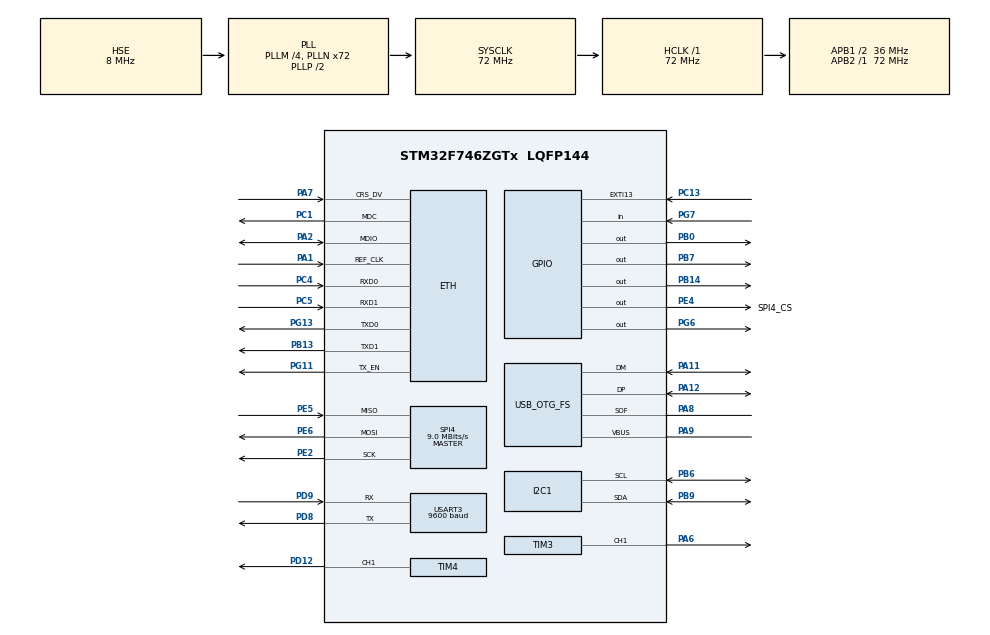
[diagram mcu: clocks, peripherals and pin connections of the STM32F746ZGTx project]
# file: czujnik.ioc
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ETH.MediaInterface=ETH_MEDIA_INTERFACE_RMII
ETH.PHY_Name=LAN8742A_PHY_ADDRESS
ETH.PHY_Value=0
ETH.PhyAddress=0
I2C1.Timing=0x00808CD2
Mcu.Family=STM32F7
Mcu.Name=STM32F746ZGTx
Mcu.Package=LQFP144
NVIC.I2C1_ER_IRQn=true\:0\:0\:false\:false\:true\:true\:true
NVIC.I2C1_EV_IRQn=true\:0\:0\:false\:false\:true\:true\:true
NVIC.PriorityGroup=NVIC_PRIORITYGROUP_4
NVIC.SPI4_IRQn=true\:0\:0\:false\:false\:true\:true\:true
NVIC.TIM2_IRQn=true\:0\:0\:false\:false\:true\:true\:true
NVIC.TIM4_IRQn=true\:0\:0\:false\:false\:true\:true\:true
NVIC.USART3_IRQn=true\:0\:0\:false\:false\:true\:true\:true
PA1.GPIO_Mode=GPIO_MODE_AF_PP
PA1.GPIO_PuPd=GPIO_NOPULL
PA1.GPIO_Speed=GPIO_SPEED_FREQ_VERY_HIGH
PA1.Mode=RMII
PA1.Signal=ETH_REF_CLK
PA10.GPIO_Mode=GPIO_MODE_AF_PP
PA10.GPIO_PuPd=GPIO_NOPULL
PA10.GPIO_Speed=GPIO_SPEED_FREQ_VERY_HIGH
PA10.Signal=USB_OTG_FS_ID
PA11.GPIO_Mode=GPIO_MODE_AF_PP
PA11.GPIO_PuPd=GPIO_NOPULL
PA11.GPIO_Speed=GPIO_SPEED_FREQ_VERY_HIGH
PA11.Mode=Device_Only
PA11.Signal=USB_OTG_FS_DM
PA12.GPIO_Mode=GPIO_MODE_AF_PP
PA12.GPIO_PuPd=GPIO_NOPULL
PA12.GPIO_Speed=GPIO_SPEED_FREQ_VERY_HIGH
PA12.Mode=Device_Only
PA12.Signal=USB_OTG_FS_DP
PA13.Mode=Serial_Wire
PA13.Signal=SYS_JTMS-SWDIO
PA14.Mode=Serial_Wire
PA14.Signal=SYS_JTCK-SWCLK
PA2.GPIO_Mode=GPIO_MODE_AF_PP
PA2.GPIO_PuPd=GPIO_NOPULL
PA2.GPIO_Speed=GPIO_SPEED_FREQ_VERY_HIGH
PA2.Mode=RMII
PA2.Signal=ETH_MDIO
PA6.Signal=S_TIM3_CH1
PA7.GPIO_Mode=GPIO_MODE_AF_PP
PA7.GPIO_PuPd=GPIO_NOPULL
PA7.GPIO_Speed=GPIO_SPEED_FREQ_VERY_HIGH
PA7.Mode=RMII
PA7.Signal=ETH_CRS_DV
PA8.GPIO_Mode=GPIO_MODE_AF_PP
PA8.GPIO_PuPd=GPIO_NOPULL
PA8.GPIO_Speed=GPIO_SPEED_FREQ_VERY_HIGH
PA8.Mode=Activate_SOF_FS
PA8.Signal=USB_OTG_FS_SOF
PA9.GPIO_Mode=GPIO_MODE_INPUT
PA9.GPIO_PuPd=GPIO_NOPULL
PA9.Mode=Activate_VBUS
PA9.Signal=USB_OTG_FS_VBUS
PB0.GPIO_ModeDefaultOutputPP=GPIO_MODE_OUTPUT_PP
PB0.GPIO_PuPd=GPIO_NOPULL
PB0.GPIO_Speed=GPIO_SPEED_FREQ_LOW
PB0.PinState=GPIO_PIN_RESET
PB0.Signal=GPIO_Output
PB13.GPIO_Mode=GPIO_MODE_AF_PP
PB13.GPIO_PuPd=GPIO_NOPULL
PB13.GPIO_Speed=GPIO_SPEED_FREQ_VERY_HIGH
PB13.Mode=RMII
PB13.Signal=ETH_TXD1
PB14.GPIO_ModeDefaultOutputPP=GPIO_MODE_OUTPUT_PP
PB14.GPIO_PuPd=GPIO_NOPULL
PB14.GPIO_Speed=GPIO_SPEED_FREQ_LOW
PB14.PinState=GPIO_PIN_RESET
PB14.Signal=GPIO_Output
PB3.Signal=SYS_JTDO-SWO
PB6.Mode=I2C
PB6.Signal=I2C1_SCL
PB7.GPIO_ModeDefaultOutputPP=GPIO_MODE_OUTPUT_PP
PB7.GPIO_PuPd=GPIO_NOPULL
PB7.GPIO_Speed=GPIO_SPEED_FREQ_LOW
PB7.PinState=GPIO_PIN_RESET
PB7.Signal=GPIO_Output
PB9.Mode=I2C
PB9.Signal=I2C1_SDA
PC1.GPIO_Mode=GPIO_MODE_AF_PP
PC1.GPIO_PuPd=GPIO_NOPULL
PC1.GPIO_Speed=GPIO_SPEED_FREQ_VERY_HIGH
PC1.Mode=RMII
PC1.Signal=ETH_MDC
PC13.GPIO_ModeDefaultEXTI=GPIO_MODE_IT_RISING
PC13.GPIO_PuPd=GPIO_NOPULL
PC13.Signal=GPXTI13
PC14/OSC32_IN.Mode=LSE-External-Oscillator
PC14/OSC32_IN.Signal=RCC_OSC32_IN
PC15/OSC32_OUT.Mode=LSE-External-Oscillator
PC15/OSC32_OUT.Signal=RCC_OSC32_OUT
PC4.GPIO_Mode=GPIO_MODE_AF_PP
PC4.GPIO_PuPd=GPIO_NOPULL
PC4.GPIO_Speed=GPIO_SPEED_FREQ_VERY_HIGH
PC4.Mode=RMII
PC4.Signal=ETH_RXD0
PC5.GPIO_Mode=GPIO_MODE_AF_PP
PC5.GPIO_PuPd=GPIO_NOPULL
PC5.GPIO_Speed=GPIO_SPEED_FREQ_VERY_HIGH
PC5.Mode=RMII
PC5.Signal=ETH_RXD1
PD12.Signal=S_TIM4_CH1
PD8.GPIO_ModeDefaultPP=GPIO_MODE_AF_PP
PD8.GPIO_PuPd=GPIO_NOPULL
PD8.GPIO_Speed=GPIO_SPEED_FREQ_VERY_HIGH
PD8.Mode=Asynchronous
PD8.Signal=USART3_TX
PD9.GPIO_ModeDefaultPP=GPIO_MODE_AF_PP
PD9.GPIO_PuPd=GPIO_NOPULL
PD9.GPIO_Speed=GPIO_SPEED_FREQ_VERY_HIGH
PD9.Mode=Asynchronous
PD9.Signal=USART3_RX
PE2.Mode=Full_Duplex_Master
PE2.Signal=SPI4_SCK
PE4.GPIO_Label=SPI4_CS
PE4.Signal=GPIO_Output
PE5.Mode=Full_Duplex_Master
PE5.Signal=SPI4_MISO
PE6.Mode=Full_Duplex_Master
PE6.Signal=SPI4_MOSI
PG11.GPIO_Mode=GPIO_MODE_AF_PP
PG11.GPIO_PuPd=GPIO_NOPULL
PG11.GPIO_Speed=GPIO_SPEED_FREQ_VERY_HIGH
PG11.Mode=RMII
PG11.Signal=ETH_TX_EN
PG13.GPIO_Mode=GPIO_MODE_AF_PP
PG13.GPIO_PuPd=GPIO_NOPULL
PG13.GPIO_Speed=GPIO_SPEED_FREQ_VERY_HIGH
PG13.Mode=RMII
PG13.Signal=ETH_TXD0
PG6.GPIO_ModeDefaultOutputPP=GPIO_MODE_OUTPUT_PP
PG6.GPIO_PuPd=GPIO_NOPULL
PG6.GPIO_Speed=GPIO_SPEED_FREQ_LOW
PG6.PinState=GPIO_PIN_RESET
PG6.Signal=GPIO_Output
PG7.GPIO_Mode=GPIO_MODE_INPUT
PG7.GPIO_PuPd=GPIO_NOPULL
PG7.Signal=GPIO_Input
PH0/OSC_IN.Mode=HSE-External-Clock-Source
PH0/OSC_IN.Signal=RCC_OSC_IN
PH1/OSC_OUT.Mode=HSE-External-Clock-Source
PH1/OSC_OUT.Signal=RCC_OSC_OUT
ProjectManager.HeapSize=0x200
ProjectManager.StackSize=0x400
ProjectManager.TargetToolchain=STM32CubeIDE
RCC.48MHZClocksFreq_Value=24000000
RCC.AHBFreq_Value=72000000
RCC.APB1CLKDivider=RCC_HCLK_DIV2
RCC.APB1Freq_Value=36000000
RCC.APB1TimFreq_Value=72000000
RCC.APB2Freq_Value=72000000
RCC.APB2TimFreq_Value=72000000
RCC.CortexFreq_Value=72000000
RCC.HCLKFreq_Value=72000000
RCC.HSE_VALUE=8000000
RCC.HSI_VALUE=16000000
RCC.PLLM=4
RCC.PLLMUL=RCC_PLL_MUL9
RCC.PLLN=72
RCC.PLLQ=3
RCC.PRESCALERUSB=RCC_USBCLKSOURCE_PLL_DIV1_5
RCC.SYSCLKFreq_VALUE=72000000
RCC.SYSCLKSource=RCC_SYSCLKSOURCE_PLLCLK
RCC.SYSCLKSourceVirtual=RCC_SYSCLKSOURCE_PLLCLK
RCC.USBFreq_Value=48000000
RCC.VCOOutputFreq_Value=144000000
SH.S_TIM3_CH1.0=TIM3_CH1,PWM Generation1 CH1
SH.S_TIM4_CH1.0=TIM4_CH1,PWM Generation1 CH1
SPI4.BaudRatePrescaler=SPI_BAUDRATEPRESCALER_8
SPI4.CLKPhase=SPI_PHASE_2EDGE
SPI4.CLKPolarity=SPI_POLARITY_HIGH
SPI4.CalculateBaudRate=9.0 MBits/s
SPI4.DataSize=SPI_DATASIZE_8BIT
SPI4.Direction=SPI_DIRECTION_2LINES
SPI4.Mode=SPI_MODE_MASTER
SPI4.VirtualType=VM_MASTER
TIM2.Period=9999
TIM2.Prescaler=3599
TIM3.Channel-PWM\ Generation1\ CH1=TIM_CHANNEL_1
TIM3.Period=999
TIM3.Prescaler=71
TIM3.Pulse-PWM\ Generation1\ CH1=500
TIM4.Channel-PWM\ Generation1\ CH1=TIM_CHANNEL_1
TIM4.Period=999
TIM4.Prescaler=71
TIM4.Pulse-PWM\ Generation1\ CH1=500
USART3.BaudRate=9600
USART3.VirtualMode-Asynchronous=VM_ASYNC
USB_OTG_FS.VirtualMode=Device_Only
VP_TIM2_VS_ClockSourceINT.Mode=Internal
VP_TIM3_VS_ClockSourceINT.Mode=Internal
VP_TIM4_VS_ClockSourceINT.Mode=Internal
board=NUCLEO-F746ZG

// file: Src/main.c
/* USER CODE BEGIN Header */
/**
  ****************************************************************************
  * @file           : main.c
  * @brief          : Main program body
  ****************************************************************************
  * @attention
  *
  * <h2><center>&copy; Copyright (c) 2019 STMicroelectronics.
  * All rights reserved.</center></h2>
  *
  * This software component is licensed by ST under BSD 3-Clause license,
  * the "License"; You may not use this file except in compliance with the
  * License. You may obtain a copy of the License at:
  *                        opensource.org/licenses/BSD-3-Clause
  *
  ****************************************************************************
  */
/* USER CODE END Header */

#include "main.h"
#include "eth.h"
#include "i2c.h"
#include "spi.h"
#include "tim.h"
#include "usart.h"
#include "usb_otg.h"
#include "gpio.h"

/* USER CODE BEGIN Includes */
#include "bmp280.h"
#include "bmp280_defs.h"
#include "stdio.h"
#include "stdlib.h"
#include "math.h"
#include "arm_math.h"
#include "math_helper.h"
#include "i2c-lcd.h"
#include "funkcje_pom.h"

/* USER CODE END Includes */

/* USER CODE BEGIN PD */

/** PID controller parameters definition */

#define PID_PARAM_KP       600     /*!<  Proportional */
#define PID_PARAM_KI       2.9     /*!<  Integral */
#define PID_PARAM_KD       80      /*!<  Derivative */

/* USER CODE END PD */

/* USER CODE BEGIN PV */

/** Define UART message variables */

	   uint32_t pres1=0, temp1=0;
	   int timer =0;
	   char msg_in[4];
	   float msg=0;
       float msg_last = 0;

/* USER CODE END PV */

void SystemClock_Config(void);

/* USER CODE END PFP */

int main(void)
{
  /* USER CODE BEGIN 1 */

	/** Set PID parameters */

	   PID.Kp = PID_PARAM_KP;        /*!< Proportional */
	   PID.Ki = PID_PARAM_KI;        /*!< Integral */
	   PID.Kd = PID_PARAM_KD;        /*!< Derivative */

    /** Set PID2 parameters */

	   PID2.Kp = PID_PARAM_KP;        /*!< Proportional */
	   PID2.Ki = PID_PARAM_KI;        /*!< Integral */
	   PID2.Kd = PID_PARAM_KD;        /*!< Derivative */

	/** Initialize PID systems, float32_t format */

	 	  arm_pid_init_f32(&PID, 1);
	 	  arm_pid_init_f32(&PID2, 1);

  /* USER CODE END 1 */

  /* MCU Configuration--------------------------------------------------------*/

  /* Reset of all peripherals, Initializes the Flash interface and the Systick. */

  /** Initialize SysTick Timer */
  HAL_Init();

  /* USER CODE BEGIN Init */

 // print_rslt(" bmp280_set_power_mode status", rslt);///////////////////////////

  /* USER CODE END Init */

  /* Configure the system clock */
  SystemClock_Config();

  /* Initialize all configured peripherals */
  MX_GPIO_Init();
  MX_ETH_Init();
  MX_USART3_UART_Init();
  MX_USB_OTG_FS_PCD_Init();
  MX_SPI4_Init();
  MX_I2C1_Init();
  MX_TIM2_Init();
  MX_TIM3_Init();
  MX_TIM4_Init();
  /* USER CODE BEGIN 2 */

  /** Initialize LCD */
  lcd_init();

   bmp.delay_ms = HAL_Delay;
   bmp.dev_id = 0;
   bmp.intf = BMP280_SPI_INTF;
   bmp.read = spi_reg_read;
   bmp.write = spi_reg_write;

   rslt = bmp280_init(&bmp);

   /* Always read the current settings before writing, especially when
   * all the configuration is not modified
   */
   rslt = bmp280_get_config(&conf, &bmp);

   /* Configuring the temperature oversampling, filter coefficient and output data rate */
   /* Overwrite the desired settings */
   conf.filter = BMP280_FILTER_COEFF_2;

   /* Temperature oversampling set at 4x */
   conf.os_temp = BMP280_OS_4X;

   /* Pressure over sampling none (disabling pressure measurement) */
   conf.os_pres = BMP280_OS_NONE;

   /* Setting the output data rate as 1HZ(1000ms) */
   conf.odr = BMP280_ODR_1000_MS;
   rslt = bmp280_set_config(&conf, &bmp);

   /* Always set the power mode after setting the configuration */
   rslt = bmp280_set_power_mode(BMP280_NORMAL_MODE, &bmp);

   /** Start UART data receiving */
   HAL_UART_Receive_IT(&huart3, msg_in,4);

   /** Initialize PWMs */
   HAL_TIM_PWM_Start(&htim3, TIM_CHANNEL_1);

   HAL_TIM_PWM_Start(&htim4, TIM_CHANNEL_1);

   //HAL_TIM_Base_Start_IT(&htim2); ///////////////////////////////////////////////////////////////////

   /** Start UART data transmit */
   size = sprintf(buffer, "Podaj temperature \r\n");
   HAL_UART_Transmit_IT(&huart3, buffer, size);

  /* USER CODE END 2 */

  /* Infinite loop */
  /* USER CODE BEGIN WHILE */
  while (1)
  {
                /** Read temperature from sensor */
	  	  	  	  temp=read();

                /** Send temperature values to calculate PWM duties */
	              pid1(msg,temp);
	              pid2(msg,temp);

	             // send_uart_float(temp);
	              LCD(msg, temp);

	         /** Sleep time between measurements = BMP280_ODR_1000_MS */
	         bmp.delay_ms(300);

    /* USER CODE END WHILE */

  }
}

void SystemClock_Config(void)
{
  RCC_OscInitTypeDef RCC_OscInitStruct = {0};
  RCC_ClkInitTypeDef RCC_ClkInitStruct = {0};
  RCC_PeriphCLKInitTypeDef PeriphClkInitStruct = {0};

  /** Configure LSE Drive Capability
  */
  HAL_PWR_EnableBkUpAccess();
  /** Configure the main internal regulator output voltage
  */
  __HAL_RCC_PWR_CLK_ENABLE();
  __HAL_PWR_VOLTAGESCALING_CONFIG(PWR_REGULATOR_VOLTAGE_SCALE3);
  /** Initializes the CPU, AHB and APB busses clocks
  */
  RCC_OscInitStruct.OscillatorType = RCC_OSCILLATORTYPE_HSE;
  RCC_OscInitStruct.HSEState = RCC_HSE_BYPASS;
  RCC_OscInitStruct.PLL.PLLState = RCC_PLL_ON;
  RCC_OscInitStruct.PLL.PLLSource = RCC_PLLSOURCE_HSE;
  RCC_OscInitStruct.PLL.PLLM = 4;
  RCC_OscInitStruct.PLL.PLLN = 72;
  RCC_OscInitStruct.PLL.PLLP = RCC_PLLP_DIV2;
  RCC_OscInitStruct.PLL.PLLQ = 3;
  if (HAL_RCC_OscConfig(&RCC_OscInitStruct) != HAL_OK)
  {
    Error_Handler();
  }
  /** Initializes the CPU, AHB and APB busses clocks
  */
  RCC_ClkInitStruct.ClockType = RCC_CLOCKTYPE_HCLK|RCC_CLOCKTYPE_SYSCLK
                              |RCC_CLOCKTYPE_PCLK1|RCC_CLOCKTYPE_PCLK2;
  RCC_ClkInitStruct.SYSCLKSource = RCC_SYSCLKSOURCE_PLLCLK;
  RCC_ClkInitStruct.AHBCLKDivider = RCC_SYSCLK_DIV1;
  RCC_ClkInitStruct.APB1CLKDivider = RCC_HCLK_DIV2;
  RCC_ClkInitStruct.APB2CLKDivider = RCC_HCLK_DIV1;

  if (HAL_RCC_ClockConfig(&RCC_ClkInitStruct, FLASH_LATENCY_2) != HAL_OK)
  {
    Error_Handler();
  }
  PeriphClkInitStruct.PeriphClockSelection = RCC_PERIPHCLK_USART3|RCC_PERIPHCLK_I2C1
                              |RCC_PERIPHCLK_CLK48;
  PeriphClkInitStruct.Usart3ClockSelection = RCC_USART3CLKSOURCE_PCLK1;
  PeriphClkInitStruct.I2c1ClockSelection = RCC_I2C1CLKSOURCE_PCLK1;
  PeriphClkInitStruct.Clk48ClockSelection = RCC_CLK48SOURCE_PLL;
  if (HAL_RCCEx_PeriphCLKConfig(&PeriphClkInitStruct) != HAL_OK)
  {
    Error_Handler();
  }
}

/* USER CODE BEGIN 4 */

/**
* @brief Interrupt checks if UART information is correct
*
* @param huart: is UART3 handler
*/

void HAL_UART_RxCpltCallback(UART_HandleTypeDef* huart)
{
    /** Message convertion */
    msg = atof(msg_in);
    msg = msg + 0.01;
    msg = floor(10 * msg) / 10;

    /** Checks if set value is within the working range of controller */

    if (msg > 50)
    {
        size = sprintf(buffer, "Out of range\r\n");
        HAL_UART_Transmit_IT(&huart3, buffer, size);
        msg = msg_last;
    }
    else if (msg < 21)
    {
        size = sprintf(buffer, "Out of range\r\n");
        HAL_UART_Transmit_IT(&huart3, buffer, size);
        msg = msg_last;
    }
    else
    {
        size = sprintf(buffer, "Podano nowa temperature!: %.1f \r\n", msg);
        HAL_UART_Transmit_IT(&huart3, buffer, size);
        msg_last = msg;
    }

    HAL_UART_Receive_IT(&huart3, msg_in, 4);
}

/* USER CODE END 4 */

void Error_Handler(void)
{
}

/************************ (C) COPYRIGHT STMicroelectronics *****END OF FILE****/
